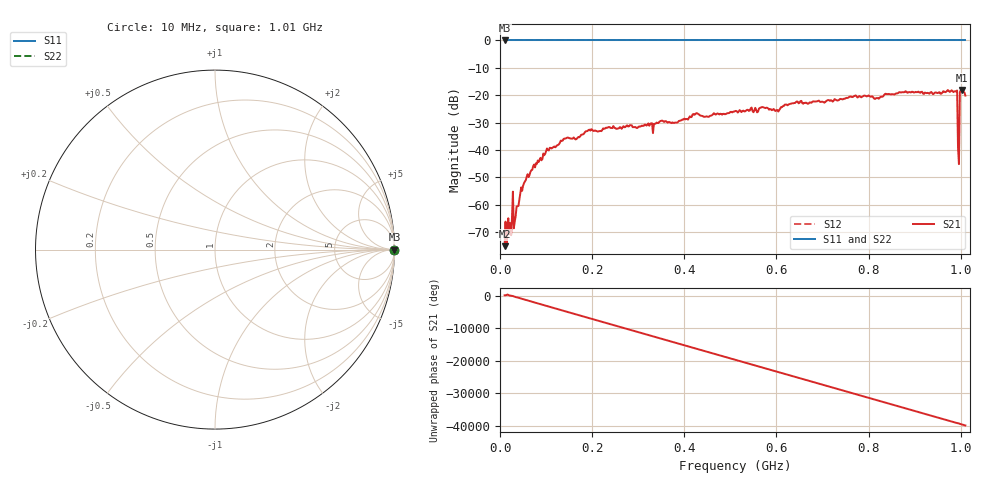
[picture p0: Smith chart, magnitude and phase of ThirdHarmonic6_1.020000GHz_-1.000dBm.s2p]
! 8/16/2025 8:32:51 AM
! C:\ANRITSUVNA\TEMP\TEMP.S2P
! CHANNEL.1
! TR.MEASUREMENT
! RAW.DATA
! RF.CORRECTION.OFF
! AVERAGING.OFF
! IF.BANDWIDTH: 5KHZ
! SWEEPTYPE:  FREQ.SWEEP(Linear)
! Reference Plane Port Info
! PORT:  PORT1  PORT2
! DISTANCE:  0  m  0  m
! TIME:  0  s  0  s
! PHASE.OFFSET:  0  deg.  0  deg.
! LOSS:  0  dB  0  dB
! REF.LOSS:  0  dB  0  dB
! REF.FREQ:  0  Hz  0  Hz
! Power Info
! POWER:  -20  dBm  -20  dBm
! EFF.POWER:  -20  dBm  -20  dBm
! SOURCE.ATTEN:  0  dB  0  dB
! TEST.ATTEN:  0  dB  0  dB
# GHZ S RI R 50.0
! FREQ.GHZ  S11RE  S11IM  S21RE  S21IM  S12RE  S12IM  S22RE  S22IM
!; PortSelection: Port_12
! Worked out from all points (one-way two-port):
!   501 points, 10 MHz to 1.01 GHz, reference 50 ohm
!   highest |S21| = -18.05 dB at 1.002 GHz (marker M1); lowest = -75.1 dB at 10 MHz (marker M2)
!   lowest |S11| = 0.0 dB at 10 MHz (marker M3)
!   |S11| at or under -10 dB: nowhere
!   |S22| runs from 0.0 to 0.0 dB; largest |S21 - S12| = 1.1
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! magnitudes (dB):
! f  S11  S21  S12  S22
! 10 MHz  0.0  -75.1  0.0  0.0
! 24 MHz  0.0  -71.1  0.0  0.0
! 32 MHz  0.0  -66.1  0.0  0.0
! 34 MHz  0.0  -64.2  0.0  0.0
! 48 MHz  0.0  -54.9  0.0  0.0
! 70 MHz  0.0  -47.2  0.0  0.0
! 106 MHz  0.0  -40.1  0.0  0.0
! 142 MHz  0.0  -35.8  0.0  0.0
! 178 MHz  0.0  -34.4  0.0  0.0
! 196 MHz  0.0  -32.9  0.0  0.0
! 344 MHz  0.0  -30.1  0.0  0.0
! 510 MHz  0.0  -25.8  0.0  0.0
! 602 MHz  0.0  -25.4  0.0  0.0
! 642 MHz  0.0  -22.5  0.0  0.0
! 678 MHz  0.0  -22.4  0.0  0.0
! 844 MHz  0.0  -19.5  0.0  0.0
! 988 MHz  0.0  -18.5  0.0  0.0
! 992 MHz  0.0  -18.3  0.0  0.0
! 994 MHz  0.0  -39.1  0.0  0.0
! 998 MHz  0.0  -18.9  0.0  0.0
! 1.002 GHz  0.0  -18.0  0.0  0.0
! 1.01 GHz  0.0  -20.1  0.0  0.0
